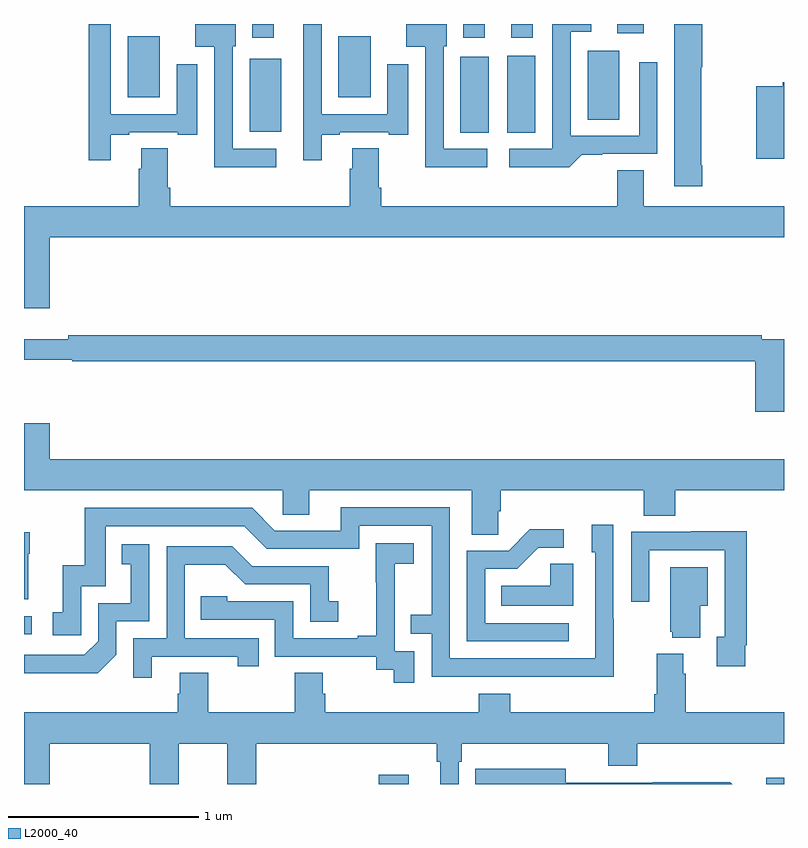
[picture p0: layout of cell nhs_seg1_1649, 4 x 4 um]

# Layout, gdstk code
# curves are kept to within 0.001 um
import gdstk
lib = gdstk.Library(unit=1e-6, precision=1e-09)
def R(c, l, rs):  # rectangles x0, y0, x1, y1
    for r in rs: c.add(gdstk.rectangle(r[:2], r[2:], *l))
def P(c, l, *ps):  # polygons
    for p in ps: c.add(gdstk.Polygon(p, *l))
L2000_40 = (2000, 40)

nhs_seg1_1649 = lib.new_cell('nhs_seg1_1649')
R(nhs_seg1_1649, L2000_40, [(202.868,538.199,203.026,538.249), (204.906,538.199,205,538.231), (201,538.986,201.04,539.082), (203.297,541.627,203.446,542.026), (203.543,541.627,203.692,542.032), (202.187,541.631,202.354,542.017), (203.966,541.696,204.133,542.059), (201.545,541.814,201.715,542.134), (202.655,541.814,202.825,542.134), (202.202,542.127,202.315,542.199), (203.312,542.127,203.425,542.199), (203.564,542.127,203.677,542.199), (204.122,542.151,204.262,542.199)])
P(nhs_seg1_1649, L2000_40, [(203.935,541.51),(204.043,541.51),(204.043,541.515),(204.333,541.515),(204.333,541.999),(204.237,541.999),(204.237,541.611),(203.877,541.611),(203.877,542.157),(203.986,542.157),(203.986,542.199),(203.781,542.199),(203.781,541.542),(203.553,541.542),(203.553,541.445),(203.87,541.445)],
  [(204.569,541.456),(204.564,541.456),(204.564,541.971),(204.569,541.971),(204.569,542.199),(204.422,542.199),(204.422,541.344),(204.569,541.344)],
  [(202.327,541.542),(202.098,541.542),(202.098,542.082),(202.114,542.082),(202.114,542.199),(201.902,542.199),(201.902,542.078),(202.002,542.078),(202.002,541.445),(202.327,541.445)],
  [(203.437,541.542),(203.208,541.542),(203.208,542.082),(203.224,542.082),(203.224,542.199),(203.012,542.199),(203.012,542.078),(203.112,542.078),(203.112,541.445),(203.437,541.445)],
  [(202.567,541.617),(202.663,541.617),(202.663,541.629),(202.919,541.629),(202.919,541.617),(203.023,541.617),(203.023,541.987),(202.913,541.987),(202.913,541.725),(202.566,541.725),(202.566,542.199),(202.47,542.199),(202.47,541.482),(202.567,541.482)],
  [(201.457,541.617),(201.553,541.617),(201.553,541.629),(201.809,541.629),(201.809,541.617),(201.913,541.617),(201.913,541.987),(201.803,541.987),(201.803,541.725),(201.456,541.725),(201.456,542.199),(201.34,542.199),(201.34,541.482),(201.457,541.482)],
  [(205,541.892),(204.994,541.892),(204.994,541.872),(204.853,541.872),(204.853,541.491),(205,541.491)],
  [(201.136,541.076),(205,541.076),(205,541.24),(204.262,541.24),(204.262,541.43),(204.122,541.43),(204.122,541.24),(202.88,541.24),(202.88,541.336),(202.867,541.336),(202.867,541.544),(202.727,541.544),(202.727,541.436),(202.715,541.436),(202.715,541.24),(201.77,541.24),(201.77,541.336),(201.757,541.336),(201.757,541.544),(201.617,541.544),(201.617,541.436),(201.605,541.436),(201.605,541.24),(201,541.24),(201,540.702),(201.136,540.702)],
  [(205,540.54),(204.884,540.54),(204.884,540.56),(201.232,540.56),(201.232,540.541),(201,540.541),(201,540.432),(201.255,540.432),(201.255,540.424),(204.848,540.424),(204.848,540.159),(205,540.159)],
  [(203.496,539.635),(203.51,539.635),(203.51,539.744),(204.263,539.744),(204.263,539.611),(204.428,539.611),(204.428,539.744),(205,539.744),(205,539.908),(201.136,539.908),(201.136,540.097),(201,540.097),(201,539.744),(202.362,539.744),(202.362,539.617),(202.501,539.617),(202.501,539.744),(203.357,539.744),(203.357,539.512),(203.496,539.512)],
  [(204.105,539.069),(204.102,539.069),(204.102,539.563),(203.987,539.563),(203.987,539.418),(204.006,539.418),(204.006,538.86),(203.241,538.86),(203.241,539.655),(202.667,539.655),(202.667,539.532),(202.32,539.532),(202.2,539.652),(201.321,539.652),(201.321,539.35),(201.203,539.35),(201.203,539.103),(201.15,539.103),(201.15,538.983),(201.3,538.983),(201.3,539.241),(201.429,539.241),(201.429,539.556),(202.158,539.556),(202.278,539.436),(202.764,539.436),(202.764,539.559),(203.145,539.559),(203.145,539.09),(203.035,539.09),(203.035,538.989),(203.145,538.989),(203.145,538.764),(204.105,538.763)],
  [(203.866,539.046),(203.427,539.046),(203.427,539.331),(203.596,539.331),(203.707,539.442),(203.842,539.442),(203.842,539.54),(203.663,539.54),(203.55,539.427),(203.331,539.427),(203.331,538.95),(203.866,538.95)],
  [(204.796,538.93),(204.803,538.93),(204.803,539.528),(204.511,539.528),(204.511,539.526),(204.195,539.526),(204.195,539.157),(204.291,539.157),(204.291,539.43),(204.687,539.43),(204.687,538.974),(204.647,538.974),(204.647,538.818),(204.796,538.818)],
  [(201.022,539.411),(201.03,539.411),(201.03,539.524),(201,539.524),(201,539.171),(201.022,539.171)],
  [(203.055,538.899),(202.95,538.899),(202.95,539.129),(202.952,539.129),(202.952,539.357),(203.05,539.357),(203.05,539.467),(202.852,539.467),(202.852,539.261),(202.853,539.261),(202.853,538.978),(202.757,538.978),(202.757,538.965),(202.416,538.965),(202.416,539.16),(202.071,539.16),(202.071,539.187),(201.931,539.187),(201.931,539.064),(202.32,539.064),(202.32,538.869),(202.854,538.869),(202.854,538.801),(202.947,538.801),(202.947,538.731),(203.055,538.731)],
  [(201.486,538.878),(201.486,539.055),(201.66,539.055),(201.66,539.461),(201.514,539.461),(201.514,539.355),(201.563,539.355),(201.563,539.151),(201.39,539.151),(201.39,538.95),(201.318,538.878),(201,538.878),(201,538.781),(201.388,538.781)],
  [(201.673,538.869),(202.124,538.869),(202.124,538.818),(202.235,538.818),(202.235,538.965),(201.846,538.965),(201.846,539.354),(202.06,539.354),(202.164,539.25),(202.506,539.25),(202.506,539.052),(202.654,539.052),(202.654,539.161),(202.605,539.161),(202.605,539.346),(202.201,539.346),(202.096,539.451),(201.75,539.451),(201.75,538.965),(201.576,538.965),(201.576,538.758),(201.673,538.758)],
  [(203.89,539.357),(203.769,539.357),(203.769,539.242),(203.512,539.242),(203.512,539.138),(203.89,539.138)],
  [(204.559,539.138),(204.598,539.138),(204.598,539.341),(204.401,539.341),(204.401,539.001),(204.413,539.001),(204.413,538.97),(204.559,538.97)],
  [(201.136,538.412),(201.662,538.412),(201.662,538.199),(201.814,538.199),(201.814,538.412),(202.07,538.412),(202.07,538.199),(202.223,538.199),(202.223,538.412),(203.173,538.412),(203.173,538.316),(203.192,538.316),(203.192,538.199),(203.289,538.199),(203.289,538.316),(203.303,538.316),(203.303,538.412),(204.074,538.412),(204.074,538.295),(204.227,538.295),(204.227,538.412),(205,538.412),(205,538.576),(204.482,538.576),(204.482,538.778),(204.469,538.778),(204.469,538.885),(204.329,538.885),(204.329,538.672),(204.317,538.672),(204.317,538.576),(203.558,538.576),(203.558,538.675),(203.393,538.675),(203.393,538.576),(202.586,538.576),(202.586,538.674),(202.573,538.674),(202.573,538.784),(202.426,538.784),(202.426,538.576),(201.969,538.576),(201.969,538.784),(201.821,538.784),(201.821,538.674),(201.809,538.674),(201.809,538.576),(201,538.576),(201,538.199),(201.136,538.199)],
  [(204.718,538.208),(204.31,538.208),(204.31,538.206),(203.85,538.206),(203.85,538.279),(203.482,538.279),(203.482,538.278),(203.374,538.278),(203.374,538.199),(204.727,538.199)])

lib.write_gds('nhs_seg1_1649.gds')
